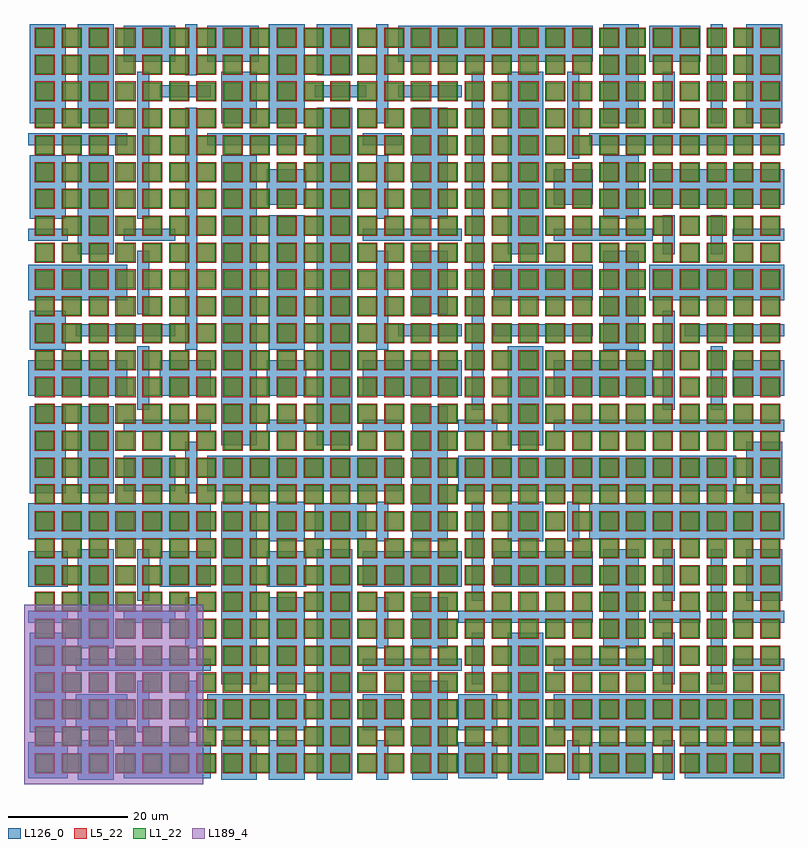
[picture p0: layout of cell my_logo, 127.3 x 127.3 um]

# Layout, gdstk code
import gdstk
lib = gdstk.Library(unit=1e-6, precision=1e-09)
def R(c, l, rs):  # rectangles x0, y0, x1, y1
    for r in rs: c.add(gdstk.rectangle(r[:2], r[2:], *l))
def A(c, l, x, y, w, h, nx, ny, dx, dy):  # array of equal rectangles
    R(c, l, [(x+i*dx, y+j*dy, x+i*dx+w, y+j*dy+h) for i in range(nx) for j in range(ny)])
L1_22 = (1, 22)
L5_22 = (5, 22)
L126_0 = (126, 0)
L189_4 = (189, 4)

my_logo = lib.new_cell('my_logo')
A(my_logo, L1_22, 2, 2, 3, 3, 28, 28, 4.5, 4.5)
A(my_logo, L5_22, 1.82, 1.82, 3.36, 3.36, 28, 28, 4.5, 4.5)
A(my_logo, L126_0, 40.7, 33, 6.6, 6, 1, 3, 0, 32)
A(my_logo, L126_0, 40.7, 59, 6.6, 2, 3, 1, 16, 0)
R(my_logo, L126_0, [(9,0.7,15,7.3), (33,0.7,39,7.3), (41,0.7,47,7.3), (49,0.7,55,39.3), (59,0.7,61,7.3), (65,0.7,71,17.3), (81,0.7,87,25.3), (91,0.7,93,7.3), (107,0.7,109,7.3), (0.7,1,7.3,7), (16.7,1,31.3,7), (72.7,1,79.3,7), (94.7,1,105.3,7), (110.7,1,127.3,7), (1,8.7,7,25.3), (19,8.7,21,17.3), (27,8.7,29,17.3), (8.7,9,17.3,15), (30.7,9,47.3,15), (56.7,9,63.3,15), (72.7,9,79.3,15), (88.7,9,127.3,15), (33,16.7,39,47.3), (41,16.7,47,31.3), (75,16.7,77,25.3), (107,16.7,109,25.3), (115,16.7,117,39.3), (8.7,19,31.3,21), (56.7,19,73.3,21), (88.7,19,105.3,21), (118.7,19,127.3,21), (9,22.7,15,39.3), (27,22.7,29,31.3), (59,22.7,61,31.3), (65,22.7,71,31.3), (97,22.7,103,39.3), (0.7,27,7.3,29), (16.7,27,25.3,29), (72.7,27,95.3,29), (104.7,27,113.3,29), (118.7,27,127.3,29), (19,30.7,21,39.3), (75,30.7,77,47.3), (107,30.7,109,39.3), (121,30.7,127,39.3), (0.7,33,7.3,39), (22.7,33,31.3,39), (56.7,33,73.3,39), (78.7,33,95.3,39), (41,40.7,47,47.3), (59,40.7,61,47.3), (65,40.7,71,63.3), (81,40.7,87,47.3), (91,40.7,93,47.3), (0.7,41,31.3,47), (48.7,41,57.3,47), (94.7,41,127.3,47), (1,48.7,7,63.3), (9,48.7,15,63.3), (27,48.7,29,57.3), (121,48.7,127,57.3), (16.7,49,25.3,55), (30.7,49,63.3,55), (72.7,49,119.3,55), (33,56.7,39,105.3), (49,56.7,55,113.3), (81,56.7,87,73.3), (16.7,59,31.3,61), (88.7,59,127.3,61), (19,62.7,21,73.3), (75,62.7,77,119.3), (107,62.7,109,79.3), (115,62.7,117,73.3), (0.7,65,17.3,71), (22.7,65,31.3,71), (56.7,65,73.3,71), (88.7,65,105.3,71), (118.7,65,127.3,71), (1,72.7,7,79.3), (27,72.7,29,113.3), (41,72.7,47,95.3), (59,72.7,61,89.3), (97,72.7,103,89.3), (8.7,75,25.3,77), (62.7,75,73.3,77), (78.7,75,95.3,77), (110.7,75,127.3,77), (19,78.7,21,89.3), (65,78.7,71,89.3), (0.7,81,17.3,87), (78.7,81,95.3,87), (104.7,81,127.3,87), (9,88.7,15,105.3), (81,88.7,87,119.3), (107,88.7,109,95.3), (115,88.7,117,95.3), (0.7,91,7.3,93), (16.7,91,25.3,93), (56.7,91,73.3,93), (88.7,91,105.3,93), (118.7,91,127.3,93), (1,94.7,7,105.3), (19,94.7,21,119.3), (59,94.7,61,105.3), (65,94.7,71,113.3), (97,94.7,103,105.3), (88.7,97,95.3,103), (104.7,97,127.3,103), (91,104.7,93,119.3), (0.7,107,17.3,109), (30.7,107,47.3,109), (56.7,107,63.3,109), (94.7,107,127.3,109), (1,110.7,7,127.3), (9,110.7,15,127.3), (33,110.7,39,119.3), (41,110.7,47,127.3), (59,110.7,61,127.3), (97,110.7,103,127.3), (107,110.7,109,119.3), (115,110.7,117,127.3), (121,110.7,127,127.3), (22.7,115,31.3,117), (48.7,115,57.3,117), (62.7,115,73.3,117), (27,118.7,29,127.3), (49,118.7,55,127.3), (16.7,121,25.3,127), (30.7,121,39.3,127), (62.7,121,95.3,127), (104.7,121,113.3,127)])
R(my_logo, L189_4, [(0,0,30,30)])

lib.write_gds('my_logo.gds')
